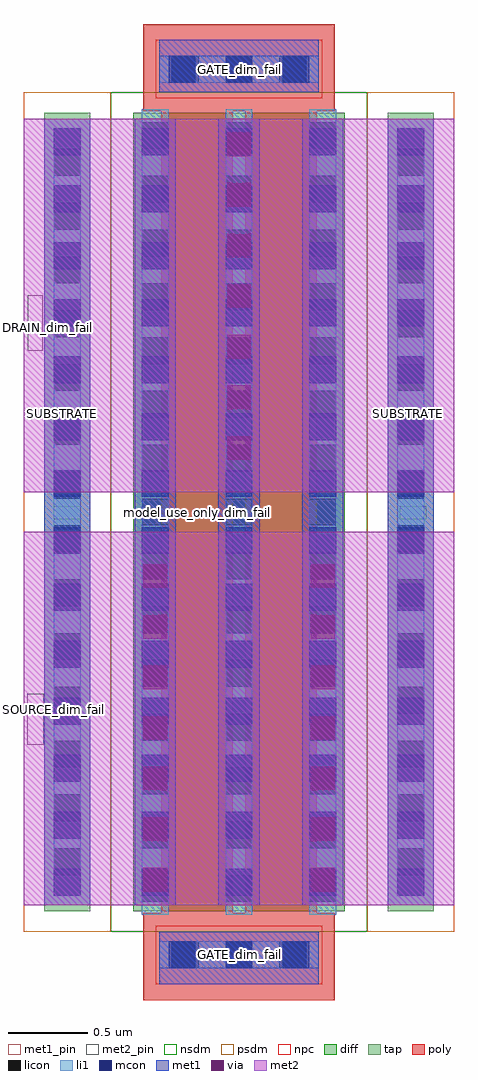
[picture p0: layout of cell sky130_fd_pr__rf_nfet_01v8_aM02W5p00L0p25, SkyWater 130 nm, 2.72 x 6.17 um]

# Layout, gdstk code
import gdstk
lib = gdstk.Library(unit=1e-6, precision=1e-09)
def R(c, l, rs):  # rectangles x0, y0, x1, y1
    for r in rs: c.add(gdstk.rectangle(r[:2], r[2:], *l))
def A(c, l, x, y, w, h, nx, ny, dx, dy):  # array of equal rectangles
    R(c, l, [(x+i*dx, y+j*dy, x+i*dx+w, y+j*dy+h) for i in range(nx) for j in range(ny)])
def P(c, l, *ps):  # polygons
    for p in ps: c.add(gdstk.Polygon(p, *l))
diff = (65, 20)
tap = (65, 44)
poly = (66, 20)
licon = (66, 44)
li1 = (67, 20)
mcon = (67, 44)
met1_pin = (68, 16)
met1 = (68, 20)
via = (68, 44)
met2_pin = (69, 16)
met2 = (69, 20)
nsdm = (93, 44)
psdm = (94, 20)
npc = (95, 20)

sky130_fd_pr__rf_nfet_01 = lib.new_cell('sky130_fd_pr__rf_nfet_01v8_aM02W5p00L0p25')
R(sky130_fd_pr__rf_nfet_01, diff, [(0.74,0.51,2.08,5.56)])
R(sky130_fd_pr__rf_nfet_01, tap, [(0.18,0.51,0.47,5.56), (2.35,0.51,2.64,5.56)])
P(sky130_fd_pr__rf_nfet_01, poly, [(0.805,-0.05),(0.805,0.5),(0.92,0.5),(0.92,5.57),(1.37,5.57),(1.37,0.5),(1.45,0.5),(1.45,5.57),(0.805,5.57),(0.805,6.12),(2.015,6.12),(2.015,5.57),(1.9,5.57),(1.9,0.5),(2.015,0.5),(2.015,-0.05)])
A(sky130_fd_pr__rf_nfet_01, licon, 0.985, 0.15, 0.17, 0.17, 3, 2, 0.34, 5.6)
A(sky130_fd_pr__rf_nfet_01, licon, 0.795, 0.57, 0.17, 0.17, 3, 15, 0.53, 0.34)
A(sky130_fd_pr__rf_nfet_01, licon, 0.24, 0.74, 0.17, 0.17, 1, 14, 0, 0.34)
A(sky130_fd_pr__rf_nfet_01, licon, 2.41, 0.74, 0.17, 0.17, 1, 14, 0, 0.34)
A(sky130_fd_pr__rf_nfet_01, li1, 0.795, 0.49, 0.17, 5.09, 3, 1, 0.53, 0)
A(sky130_fd_pr__rf_nfet_01, li1, 0.795, 1.69, 0.17, 2.69, 3, 1, 0.53, 0)
R(sky130_fd_pr__rf_nfet_01, li1, [(0.905,0.15,1.915,0.32), (0.965,0.15,1.855,0.32), (0.24,0.61,0.41,5.46), (2.41,0.61,2.58,5.46), (0.24,0.66,0.41,5.41), (2.41,0.66,2.58,5.41), (0.24,1.68,0.41,4.39), (2.41,1.68,2.58,4.39), (0.905,5.75,1.915,5.92), (0.965,5.75,1.855,5.92)])
A(sky130_fd_pr__rf_nfet_01, mcon, 0.965, 0.15, 0.17, 0.17, 3, 2, 0.36, 5.6)
A(sky130_fd_pr__rf_nfet_01, mcon, 0.24, 0.61, 0.17, 0.17, 1, 14, 0, 0.36)
A(sky130_fd_pr__rf_nfet_01, mcon, 0.795, 0.61, 0.17, 0.17, 3, 14, 0.53, 0.36)
A(sky130_fd_pr__rf_nfet_01, mcon, 2.41, 0.61, 0.17, 0.17, 1, 14, 0, 0.36)
R(sky130_fd_pr__rf_nfet_01, met1_pin, [(0.905,0.05,1.915,0.38), (0.24,2.99,0.41,3.07), (2.425,2.99,2.595,3.07), (0.905,5.69,1.915,6.02)])
A(sky130_fd_pr__rf_nfet_01, met1, 0.75, 0.55, 0.26, 4.97, 3, 1, 0.53, 0)
R(sky130_fd_pr__rf_nfet_01, met1, [(0.905,0.05,1.915,0.38), (0.18,0.55,0.47,5.52), (0.75,0.55,1.01,2.79), (1.81,0.55,2.07,2.79), (2.35,0.55,2.64,5.52), (1.28,3.28,1.54,5.52), (0.905,5.69,1.915,6.02)])
A(sky130_fd_pr__rf_nfet_01, via, 0.805, 0.635, 0.15, 0.15, 1, 7, 0, 0.32)
A(sky130_fd_pr__rf_nfet_01, via, 1.865, 0.635, 0.15, 0.15, 1, 7, 0, 0.32)
A(sky130_fd_pr__rf_nfet_01, via, 1.335, 3.365, 0.15, 0.15, 1, 7, 0, 0.32)
R(sky130_fd_pr__rf_nfet_01, met2_pin, [(0.07,1.565,0.175,1.885), (0.075,4.055,0.17,4.405)])
R(sky130_fd_pr__rf_nfet_01, met2, [(0.05,0.55,2.77,2.91), (0.75,0.55,1.01,2.79), (1.81,0.55,2.07,2.79), (0.05,3.16,2.77,5.52), (1.28,3.28,1.54,5.52)])
R(sky130_fd_pr__rf_nfet_01, nsdm, [(0.6,0.38,2.22,5.69)])
R(sky130_fd_pr__rf_nfet_01, psdm, [(0.05,0.38,0.6,5.69), (2.22,0.38,2.77,5.69)])
R(sky130_fd_pr__rf_nfet_01, npc, [(0.885,0.05,1.935,0.42), (0.885,5.65,1.935,6.02)])
sky130_fd_pr__rf_nfet_01.add(gdstk.Label('model_use_only_dim_fail', (1.145,3.03), layer=66, texttype=83))
sky130_fd_pr__rf_nfet_01.add(gdstk.Label('model_use_only_dim_fail', (1.675,3.03), layer=66, texttype=83))
sky130_fd_pr__rf_nfet_01.add(gdstk.Label('SOURCE_dim_fail', (0.175,1.785), layer=69, texttype=5))
sky130_fd_pr__rf_nfet_01.add(gdstk.Label('DRAIN_dim_fail', (0.155,4.2), layer=69, texttype=5))
sky130_fd_pr__rf_nfet_01.add(gdstk.Label('GATE_dim_fail', (1.41,5.835), layer=68, texttype=5))
sky130_fd_pr__rf_nfet_01.add(gdstk.Label('GATE_dim_fail', (1.41,0.235), layer=68, texttype=5))
sky130_fd_pr__rf_nfet_01.add(gdstk.Label('SUBSTRATE', (2.48,3.66), layer=68, texttype=5))
sky130_fd_pr__rf_nfet_01.add(gdstk.Label('SUBSTRATE', (0.295,3.66), layer=68, texttype=5))

lib.write_gds('sky130_fd_pr__rf_nfet_01v8_aM02W5p00L0p25.gds')
